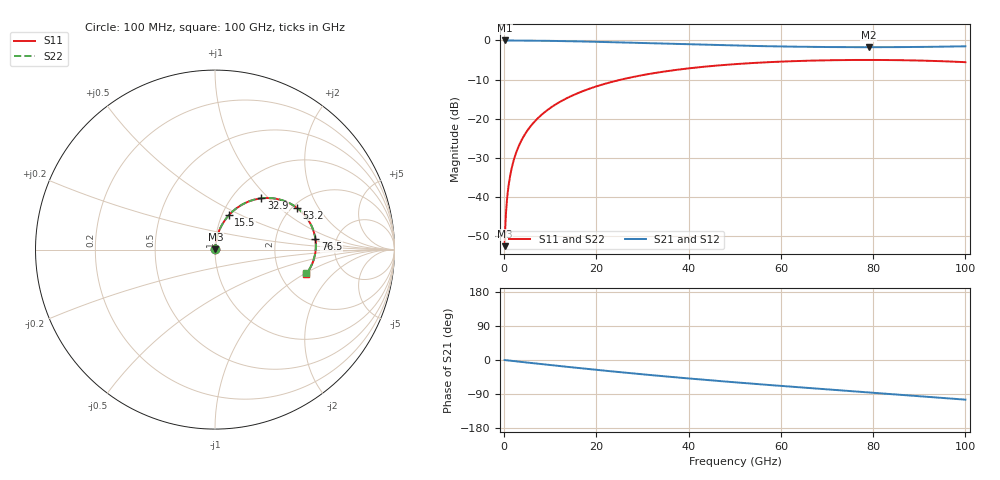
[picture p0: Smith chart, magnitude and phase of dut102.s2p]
! Touchstone file exported from HFSS 2026.1.0
!  File:  C:/ffzhzh/LocalFiles/Ansys_Project_Files/temp_train_RDL_102_1783499145_55944.aedt
!  Generated:  04:26:50 PM Jul  8, 2026
!  Design:  RDL
!  Project:  temp_train_RDL_102_1783499145_55944
! Variables:
!  h_bsmrdl = 2um
!  h_ox = 20um
!  h_rdl = 5um
!  h_sub = 80um
!  h_tmrdl = 2.93um
!  h_tsv = 80um
!  h_via = 3um
!  l_bsmrdl = 300um
!  l_sub = 732.26um
!  l_tmrdl = 332.26um
!  m_sub = 200um
!  pitch = 57.79um
!  r_tsv = 6um
!  s_tmrdl = 10um
!  w_bsmrdl = 18um
!  w_sub = 500um
!  w_tmrdl = 27.05um
!  x_tsv_center1 = 345.785um
!  x_tsv_center2 = 663.785um
!  x_tsv_center3 = 1023.095um
!  x_tsv_center4 = 1341.095um
!  x_tsv_center5 = 1700.405um
!  x_tsv_center6 = 2018.405um
# GHz S MA R 50.000000
! Terminal data exported
! Port[1] = TM_RDL1_1_T1
! Port[2] = TM_RDL1_1_T2
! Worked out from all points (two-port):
!   1000 points, 100 MHz to 100 GHz, reference 50 ohm
!   highest |S21| = -0.02 dB at 100 MHz (marker M1); lowest = -1.7 dB at 79 GHz (marker M2)
!   |S21| within 3 dB of the highest: start of sweep to end of sweep
!   lowest |S11| = -52.6 dB at 100 MHz (marker M3), VSWR 1.00, Z = 50.2 + j0.155 ohm
!   |S11| at or under -10 dB: start of sweep to 25.42 GHz
!   |S22| runs from -52.6 to -5.0 dB; largest |S21 - S12| = 1.5e-14
!   S11 on the Smith chart (normalised r, x): 100 MHz: 1.00, +0.00; 15.5 GHz: 1.08, +0.43; 32.9 GHz: 1.35, +0.90; 53.2 GHz: 2.10, +1.33; 76.5 GHz: 3.46, +0.61; 100 GHz: 2.78, -1.05
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0.1  0.002348 41.3  0.9982 -0.1  0.9982 -0.1  0.002348 41.3
! Gamma 0 0 0 0
! Port Impedance 50 0 50 0
0.8  0.01174 77.9  0.9977 -1.1  0.9977 -1.1  0.01174 78.0
1.1  0.01587 80.2  0.9976 -1.5  0.9976 -1.5  0.01587 80.2
1.4  0.02003 81.4  0.9974 -1.9  0.9974 -1.9  0.02003 81.4
1.9  0.02699 82.3  0.9972 -2.6  0.9972 -2.6  0.02699 82.3
2.4  0.03396 82.5  0.9969 -3.2  0.9969 -3.2  0.03396 82.5
3.8  0.05342 81.9  0.9958 -5.1  0.9958 -5.1  0.05342 81.9
5.8  0.08091 79.9  0.9934 -7.8  0.9934 -7.8  0.08091 79.9
8.3  0.1146 76.9  0.9895 -11.1  0.9895 -11.1  0.1146 77.0
11.5  0.1563 73.0  0.9829 -15.2  0.9829 -15.2  0.1563 73.0
15.5  0.2061 68.1  0.9728 -20.3  0.9728 -20.3  0.2061 68.1
16.8  0.2216 66.5  0.9692 -22.0  0.9692 -22.0  0.2216 66.5
24  0.3017 57.9  0.9465 -30.8  0.9465 -30.8  0.3017 58.0
32.9  0.3852 47.8  0.9153 -41.0  0.9153 -41.0  0.3852 47.9
33.4  0.3893 47.3  0.9135 -41.6  0.9135 -41.6  0.3893 47.4
50.1  0.4974 30.2  0.8596 -58.9  0.8596 -58.9  0.4974 30.3
53.2  0.5112 27.2  0.8515 -61.9  0.8515 -61.9  0.5112 27.4
66.7  0.5517 14.8  0.8261 -74.5  0.8261 -74.5  0.5517 15.0
76.5  0.5624 6.1  0.8188 -83.3  0.8188 -83.3  0.5625 6.4
79  0.5628 3.9  0.8185 -85.5  0.8185 -85.5  0.5628 4.2
83.4  0.5611 0.0  0.8195 -89.4  0.8195 -89.4  0.5611 0.3
100  0.5267 -15.0  0.8405 -104.7  0.8405 -104.7  0.5268 -14.6
